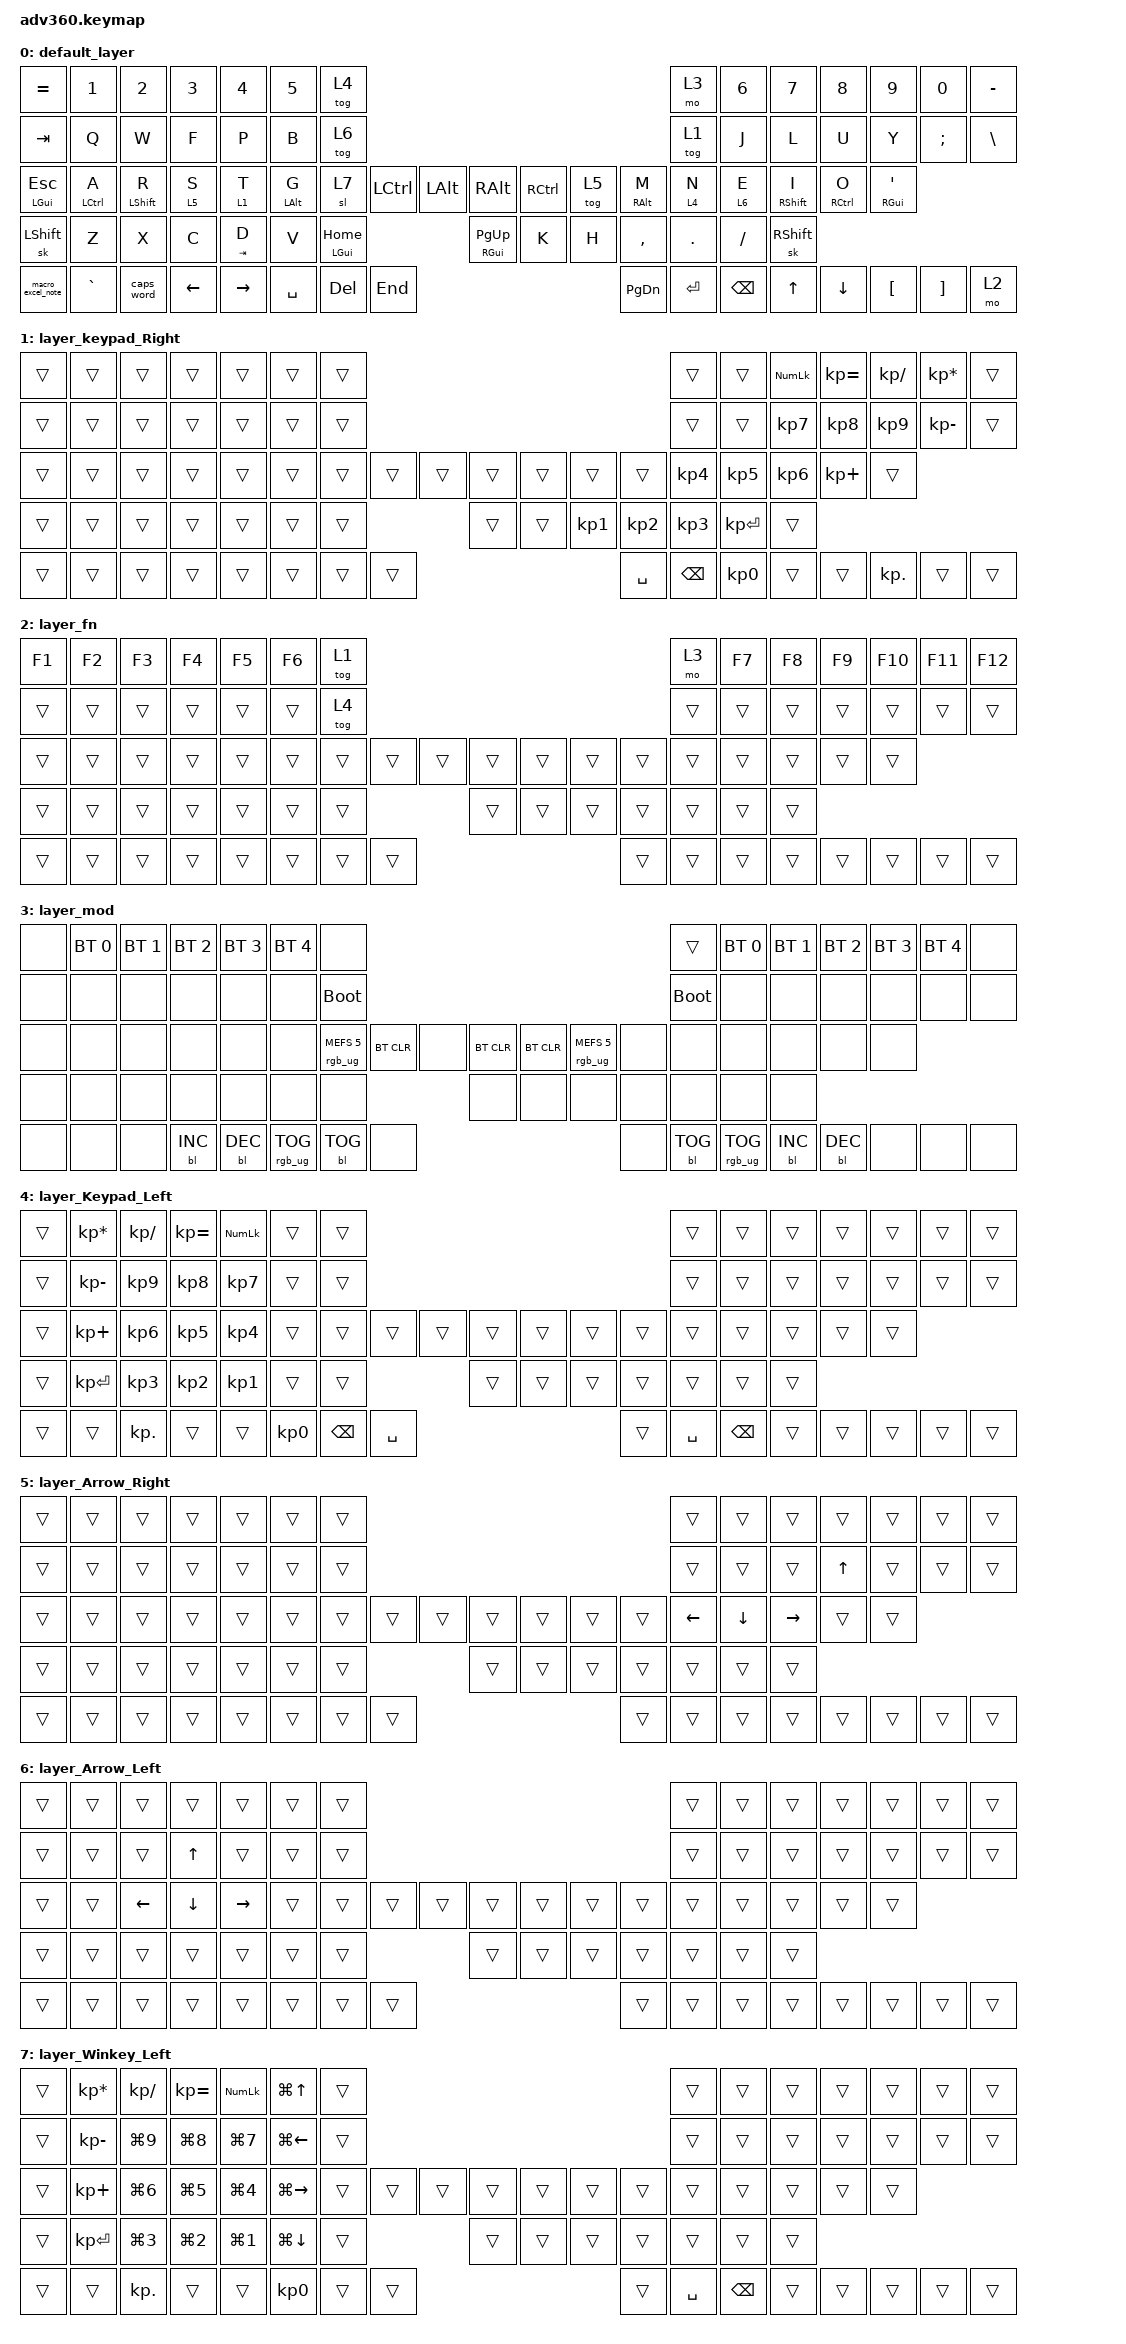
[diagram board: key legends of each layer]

/*
 * Copyright (c) 2020 The ZMK Contributors
 *
 * SPDX-License-Identifier: MIT
 */


/* THIS FILE WAS GENERATED!
 *
 * This file was generated automatically. You may or may not want to
 * edit it directly.
 */

#include <behaviors.dtsi>
#include <dt-bindings/zmk/keys.h>
#include <dt-bindings/zmk/bt.h>
#include <dt-bindings/zmk/rgb.h>
#include <dt-bindings/zmk/backlight.h>

&sl {
    release-after-ms = <2000>;
};

 &sk {
     release-after-ms = <2000>;
     quick-release;
 };

/ {
  behaviors {
    #include "macros.dtsi"

    hm: homerow_mods {
        compatible = "zmk,behavior-hold-tap";
        label = "HOMEROW_MODS";
        #binding-cells = <2>;
        tapping-term-ms = <200>;
        quick_tap_ms = <175>;
        flavor = "balanced";
	require-prior-idle-ms = <125>;
        bindings = <&kp>, <&kp>;
    };
     hms: homerow_mods_shift {
        compatible = "zmk,behavior-hold-tap";
        label = "HOMEROW_MODS_SHIFT";
        #binding-cells = <2>;
        tapping-term-ms = <200>;
        flavor = "balanced";
        bindings = <&kp>, <&kp>;
        //retro-tap;
    };
     num_word: behavior_num_word {
	compatible = "zmk,behavior-caps-word";
	label = "NUM_WORD";
	#binding-cells = <0>;
        //layers = <1>;                                // insert location of numbers layer here
	continue-list = <BACKSPACE DELETE DOT COMMA>;  // adjust as desired
        //ignore-numbers;                                // numbers don't deactivate the layer
    };

  };

    keymap {
        compatible = "zmk,keymap";


        default_layer {
            bindings = <
 &kp EQUAL     &kp N1    &kp N2    &kp N3     &kp N4   &kp N5               &tog 4                                                                                   &mo 3   &kp N6   &kp N7     &kp N8    &kp N9    &kp N0            &kp MINUS
   &kp TAB      &kp Q     &kp W     &kp F      &kp P    &kp B               &tog 6                                                                                  &tog 1    &kp J    &kp L      &kp U     &kp Y  &kp SEMI             &kp BSLH
 &hm LEFT_GUI ESC    &hm LCTRL A   &hms LSHFT R   &lt 5 S    &lt 1 T  &hm LALT G                &sl 7  &kp LCTRL           &kp LALT           &kp RIGHT_ALT  &kp RCTRL    &tog 5  &hm RALT M  &lt 4 N    &lt 6 E   &hms RSHFT I   &hm RCTRL O  &hm RIGHT_GUI SINGLE_QUOTE
 &sk LSHFT      &kp Z     &kp X     &kp C      &hm TAB D    &kp V                  &mt LEFT_GUI HOME    &mt RIGHT_GUI PG_UP          &kp K    &kp H  &kp COMMA   &kp DOT  &kp FSLH            &sk RSHFT
&macro_excel_note  &kp GRAVE  &caps_word  &kp LEFT  &kp RIGHT                     &kp SPACE    &kp DEL            &kp END                            &kp PG_DN  &kp ENTER  &kp BSPC            &kp UP   &kp DOWN  &kp LBKT  &kp RBKT                &mo 2
            >;
        };

        layer_keypad_Right {
            bindings = <
 &trans  &trans  &trans  &trans  &trans  &trans            &trans                                                            &trans  &trans  &kp KP_NUM  &kp KP_EQUAL  &kp KP_DIVIDE  &kp KP_MULTIPLY  &trans
 &trans  &trans  &trans  &trans  &trans  &trans            &trans                                                            &trans  &trans   &kp KP_N7     &kp KP_N8      &kp KP_N9     &kp KP_MINUS  &trans
 &trans  &trans  &trans  &trans  &trans  &trans            &trans  &trans  &trans     &trans         &trans     &trans  &trans   &kp KP_N4     &kp KP_N5      &kp KP_N6      &kp KP_PLUS  &trans
 &trans  &trans  &trans  &trans  &trans  &trans             &trans     &trans            &trans   &kp KP_N1     &kp KP_N2      &kp KP_N3     &kp KP_ENTER  &trans
 &trans  &trans  &trans  &trans  &trans                    &trans  &trans  &trans                  &kp SPACE  &kp BACKSPACE  &kp KP_N0              &trans        &trans     &kp KP_DOT           &trans  &trans
            >;
        };

        layer_fn {
            bindings = <
 &kp F1  &kp F2  &kp F3  &kp F4  &kp F5  &kp F6            &tog 1                                                   &mo 3  &kp F7  &kp F8  &kp F9  &kp F10  &kp F11  &kp F12
 &trans  &trans  &trans  &trans  &trans  &trans            &tog 4                                                  &trans  &trans  &trans  &trans   &trans   &trans   &trans
 &trans  &trans  &trans  &trans  &trans  &trans            &trans  &trans  &trans    &trans  &trans  &trans  &trans  &trans  &trans   &trans   &trans   &trans
 &trans  &trans  &trans  &trans  &trans  &trans              &trans    &trans     &trans  &trans  &trans   &trans   &trans   &trans
 &trans  &trans  &trans  &trans  &trans                    &trans  &trans  &trans                  &trans  &trans  &trans          &trans  &trans   &trans   &trans   &trans
            >;
        };

        layer_mod {
            bindings = <
  &none  &bt BT_SEL 0  &bt BT_SEL 1  &bt BT_SEL 2  &bt BT_SEL 3  &bt BT_SEL 4                             &none                                                                              &trans  &bt BT_SEL 0  &bt BT_SEL 1  &bt BT_SEL 2  &bt BT_SEL 3  &bt BT_SEL 4   &none
  &none         &none         &none         &none         &none         &none                       &bootloader                                                                         &bootloader         &none         &none         &none         &none         &none   &none
  &none         &none         &none         &none         &none         &none            &rgb_ug RGB_MEFS_CMD 5  &bt BT_CLR   &none     &bt BT_CLR  &bt BT_CLR  &rgb_ug RGB_MEFS_CMD 5         &none         &none         &none         &none         &none   &none
  &none         &none         &none         &none         &none         &none                               &none          &none                &none         &none         &none         &none         &none   &none
  &none         &none         &none    &bl BL_INC    &bl BL_DEC                                 &rgb_ug RGB_TOG  &bl BL_TOG   &none                       &none  &bl BL_TOG         &rgb_ug RGB_TOG                  &bl BL_INC    &bl BL_DEC         &none         &none   &none
            >;
        };

        layer_Keypad_Left {
            bindings = <
 &trans  &kp KP_MULTIPLY  &kp KP_SLASH     &kp KP_EQUAL  &kp KP_NUMLOCK  &trans               &trans                                                       &trans  &trans  &trans  &trans  &trans  &trans  &trans
 &trans     &kp KP_MINUS     &kp KP_N9        &kp KP_N8       &kp KP_N7  &trans               &trans                                                       &trans  &trans  &trans  &trans  &trans  &trans  &trans
 &trans      &kp KP_PLUS     &kp KP_N6        &kp KP_N5       &kp KP_N4  &trans               &trans  &trans  &trans    &trans     &trans    &trans  &trans  &trans  &trans  &trans  &trans  &trans
 &trans     &kp KP_ENTER     &kp KP_N3  &kp KP_NUMBER_2       &kp KP_N1  &trans                 &trans    &trans       &trans  &trans  &trans  &trans  &trans  &trans
 &trans           &trans    &kp KP_DOT           &trans          &trans                    &kp KP_N0  &kp BACKSPACE  &kp SPACE                  &trans  &kp SPACE  &kp BSPC          &trans  &trans  &trans  &trans  &trans
            >;
        };

        layer_Arrow_Right {
            bindings = <
 &trans  &trans  &trans  &trans  &trans  &trans            &trans                                                  &trans  &trans    &trans    &trans     &trans  &trans  &trans
 &trans  &trans  &trans  &trans  &trans  &trans            &trans                                                  &trans  &trans    &trans    &kp UP     &trans  &trans  &trans
 &trans  &trans  &trans  &trans  &trans  &trans            &trans  &trans  &trans    &trans  &trans  &trans  &trans  &kp LEFT  &kp DOWN  &kp RIGHT  &trans  &trans
 &trans  &trans  &trans  &trans  &trans  &trans             &trans    &trans   &trans    &trans    &trans     &trans  &trans  &trans
 &trans  &trans  &trans  &trans  &trans                    &trans  &trans  &trans                  &trans  &trans  &trans            &trans    &trans     &trans  &trans  &trans
            >;
        };

        layer_Arrow_Left {
            bindings = <
 &trans  &trans    &trans    &trans     &trans  &trans            &trans                                                  &trans  &trans  &trans  &trans  &trans  &trans  &trans
 &trans  &trans    &trans    &kp UP     &trans  &trans            &trans                                                  &trans  &trans  &trans  &trans  &trans  &trans  &trans
 &trans  &trans  &kp LEFT  &kp DOWN  &kp RIGHT  &trans            &trans  &trans  &trans    &trans  &trans  &trans  &trans  &trans  &trans  &trans  &trans  &trans
 &trans  &trans    &trans    &trans     &trans  &trans              &trans    &trans    &trans  &trans  &trans  &trans  &trans  &trans
 &trans  &trans    &trans    &trans     &trans                    &trans  &trans  &trans                  &trans  &trans  &trans          &trans  &trans  &trans  &trans  &trans
            >;
        };

        layer_Winkey_Left {
            bindings = <
 &trans  &kp KP_MULTIPLY  &kp KP_SLASH     &kp KP_EQUAL  &kp KP_NUMLOCK  &kp LG(UP)               &trans                                                       &trans  &trans  &trans  &trans  &trans  &trans  &trans
 &trans     &kp KP_MINUS     &kp LG(N9)        &kp LG(N8)       &kp LG(N7)  &kp LG(LEFT)               &trans                                                       &trans  &trans  &trans  &trans  &trans  &trans  &trans
 &trans      &kp KP_PLUS     &kp LG(N6)        &kp LG(N5)       &kp LG(N4)  &kp LG(RIGHT)               &trans  &trans   &trans  &trans     &trans    &trans  &trans  &trans  &trans  &trans  &trans  &trans
 &trans     &kp KP_ENTER     &kp LG(N3)  &kp LG(N2)       &kp LG(N1)  &kp LG(DOWN)              &trans    &trans       &trans     &trans  &trans  &trans  &trans  &trans
 &trans           &trans    &kp KP_DOT           &trans          &trans                    &kp KP_N0  &trans  &trans                  &trans  &kp SPACE  &kp BSPC          &trans  &trans  &trans  &trans  &trans
            >;
        };

    };
};
